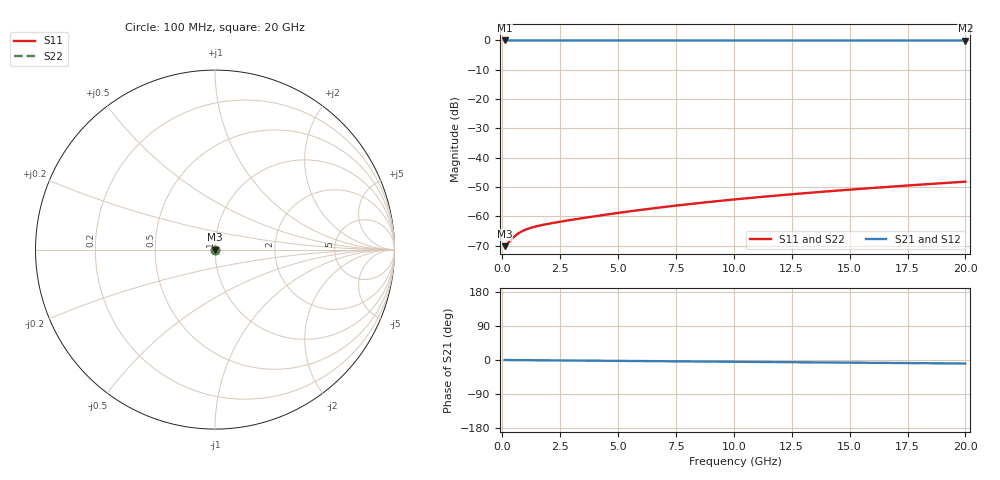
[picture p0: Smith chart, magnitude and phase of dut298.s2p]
! Touchstone file exported from HFSS 2026.1.0
!  File:  C:/ffzhzh/LocalFiles/Ansys_Project_Files/temp_train_TSV_298_1782993903_45328.aedt
!  Generated:  08:06:47 PM Jul  2, 2026
!  Design:  TSV
!  Project:  temp_train_TSV_298_1782993903_45328
! Variables:
!  h_bsmrdl = 2um
!  h_ox = 20um
!  h_rdl = 5um
!  h_sub = 99.87um
!  h_tmrdl = 5um
!  h_tsv = 99.87um
!  h_via = 3um
!  l_bsmrdl = 300um
!  l_sub = 413.16um
!  l_tmrdl = 200um
!  m_sub = 200um
!  pitch = 26.59um
!  r_tsv = 6.58um
!  s_tmrdl = 10um
!  w_bsmrdl = 18um
!  w_sub = 500um
!  w_tmrdl = 12um
!  x_tsv_center1 = 206um
!  x_tsv_center2 = 524um
!  x_tsv_center3 = 736um
!  x_tsv_center4 = 1054um
!  x_tsv_center5 = 1266um
!  x_tsv_center6 = 1584um
# GHz S MA R 50.000000
! Terminal data exported
! Port[1] = TSV1_1_T1
! Port[2] = TSV1_1_T2
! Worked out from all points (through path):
!   200 points, 100 MHz to 20 GHz, reference 50 ohm
!   highest |S21| = 0.00 dB at 100 MHz (marker M1); lowest = 0.0 dB at 20 GHz (marker M2)
!   group delay of S21, straight-line fit = 1.28 ps
!   lowest |S11| = -70.2 dB at 100 MHz (marker M3), VSWR 1.00, Z = 50 + j0.00467 ohm
!   |S11| at or under -10 dB: start of sweep to end of sweep
!   |S22| runs from -70.2 to -48.2 dB; largest |S21 - S12| = 2.2e-15
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0.1  0.0003101 8.7  0.9997 -0.0  0.9997 -0.0  0.0003101 8.7
! Gamma 0 0 0 0
! Port Impedance 50 0 50 0
0.2  0.0003351 15.5  0.9997 -0.1  0.9997 -0.1  0.0003351 15.5
0.4  0.0004082 22.3  0.9996 -0.2  0.9996 -0.2  0.0004082 22.3
0.5  0.0004464 23.2  0.9996 -0.2  0.9996 -0.2  0.0004464 23.2
0.6  0.0004822 23.1  0.9996 -0.3  0.9996 -0.3  0.0004822 23.1
0.7  0.0005147 22.5  0.9995 -0.3  0.9995 -0.3  0.0005147 22.5
0.8  0.0005439 21.6  0.9995 -0.4  0.9995 -0.4  0.0005439 21.6
0.9  0.0005699 20.5  0.9995 -0.4  0.9995 -0.4  0.0005698 20.5
1.1  0.0006139 18.2  0.9994 -0.5  0.9994 -0.5  0.0006139 18.2
1.4  0.0006663 14.8  0.9994 -0.7  0.9994 -0.7  0.0006663 14.8
1.9  0.0007359 10.0  0.9993 -0.9  0.9993 -0.9  0.0007358 10.0
2.6  0.000823 4.3  0.9992 -1.2  0.9992 -1.2  0.0008229 4.3
3.5  0.0009374 -2.4  0.9991 -1.7  0.9991 -1.7  0.0009373 -2.4
5.1  0.001159 -13.4  0.9989 -2.4  0.9989 -2.4  0.001159 -13.4
6.8  0.001415 -23.8  0.9987 -3.2  0.9987 -3.2  0.001415 -23.8
8.4  0.001671 -32.1  0.9985 -3.9  0.9985 -3.9  0.001671 -32.1
10.1  0.001957 -39.4  0.9984 -4.7  0.9984 -4.7  0.001956 -39.4
11.7  0.002237 -45.1  0.9983 -5.4  0.9983 -5.4  0.002237 -45.1
13.4  0.002548 -50.2  0.9982 -6.2  0.9982 -6.2  0.002548 -50.2
15  0.002854 -54.2  0.9981 -7.0  0.9981 -7.0  0.002853 -54.3
16.7  0.003194 -57.9  0.9979 -7.8  0.9979 -7.8  0.003193 -57.9
20  0.003905 -63.7  0.9977 -9.3  0.9977 -9.3  0.003904 -63.7
